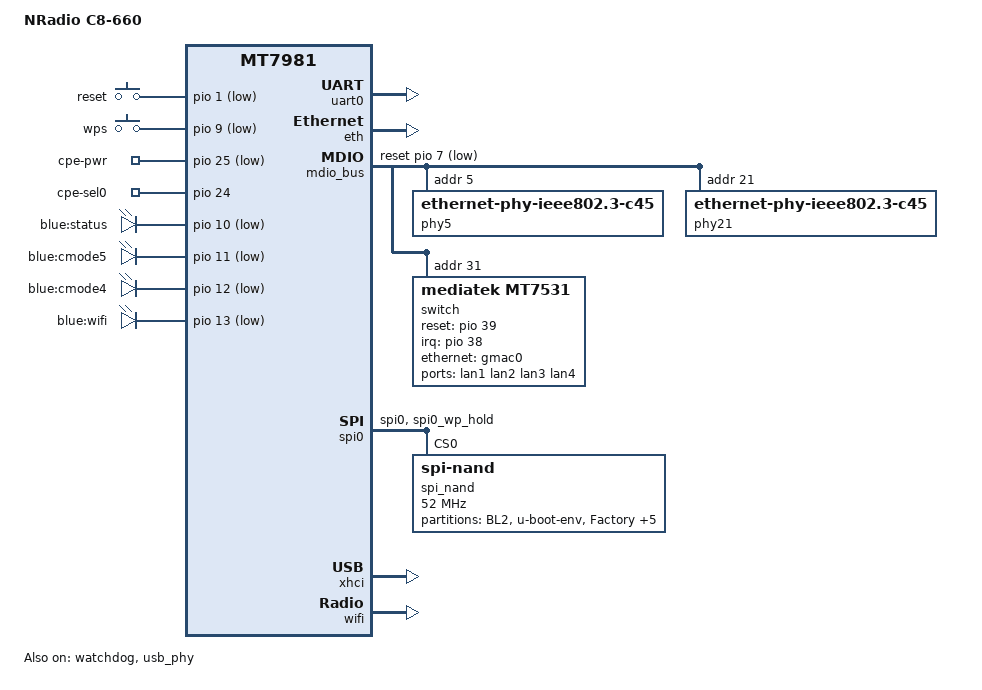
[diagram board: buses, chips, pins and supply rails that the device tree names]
/dts-v1/;

#include "mt7981.dtsi"

/ {
	model = "NRadio C8-660";
	compatible = "nradio,c8-660", "mediatek,mt7981";

	aliases {
		led-boot = &status_blue;
		led-failsafe = &status_blue;
		led-running = &status_blue;
		led-upgrade = &status_blue;
		serial0 = &uart0;
	};

	chosen {
		stdout-path = "serial0:115200n8";
	};

	gpio-keys {
		compatible = "gpio-keys";

		reset {
			label = "reset";
			linux,code = <KEY_RESTART>;
			gpios = <&pio 1 GPIO_ACTIVE_LOW>;
		};

		wps {
			label = "wps";
			linux,code = <KEY_WPS_BUTTON>;
			gpios = <&pio 9 GPIO_ACTIVE_LOW>;
		};
	};

	gpio-export {
		compatible = "gpio-export";

		cpepower {
			gpio-export,name = "cpe-pwr";
			gpio-export,output = <0>;
			gpios = <&pio 25 GPIO_ACTIVE_LOW>;
		};

		cpesel0 {
			gpio-export,name = "cpe-sel0";
			gpio-export,output = <1>;
			gpios = <&pio 24 GPIO_ACTIVE_HIGH>;
		};
	};

	gpio-leds {
		compatible = "gpio-leds";

		status_blue: status {
			label = "blue:status";
			gpios = <&pio 10 GPIO_ACTIVE_LOW>;
		};

		cmode5 {
			label = "blue:cmode5";
			gpios = <&pio 11 GPIO_ACTIVE_LOW>;
		};

		cmode4 {
			label = "blue:cmode4";
			gpios = <&pio 12 GPIO_ACTIVE_LOW>;
		};

		wifi {
			label = "blue:wifi";
			gpios = <&pio 13 GPIO_ACTIVE_LOW>;
		};
	};
};

&uart0 {
	status = "okay";
};

&watchdog {
	status = "okay";
};

&eth {
	status = "okay";

	gmac0: mac@0 {
		compatible = "mediatek,eth-mac";
		reg = <0>;
		phy-mode = "2500base-x";

		fixed-link {
			speed = <2500>;
			full-duplex;
			pause;
		};
	};

	gmac1: mac@1 {
		compatible = "mediatek,eth-mac";
		reg = <1>;
		phy-mode = "2500base-x";
		phy-handle = <&phy21>;
	};
};

&mdio_bus {
	reset-gpios = <&pio 7 GPIO_ACTIVE_LOW>, <&pio 8 GPIO_ACTIVE_LOW>;
	reset-delay-us = <600>;
	reset-post-delay-us = <20000>;

	phy5: ethernet-phy@5 {
		reg = <5>;
		compatible = "ethernet-phy-ieee802.3-c45";
		mxl,led-config = <0x3f0 0x330 0x0 0x0>;
	};

	phy21: ethernet-phy@21 {
		reg = <21>;
		compatible = "ethernet-phy-ieee802.3-c45";
	};

	switch: switch@1f {
		compatible = "mediatek,mt7531";
		reg = <31>;
		dsa,member = <0 0>;
		reset-gpios = <&pio 39 GPIO_ACTIVE_HIGH>;
		interrupt-controller;
		#interrupt-cells = <1>;
		interrupt-parent = <&pio>;
		interrupts = <38 IRQ_TYPE_LEVEL_HIGH>;
	};
};

&switch {
	ports {
		#address-cells = <1>;
		#size-cells = <0>;

		port@1 {
			reg = <1>;
			label = "lan1";
		};

		port@2 {
			reg = <2>;
			label = "lan2";
		};

		port@3 {
			reg = <3>;
			label = "lan3";
		};

		port@5 {
			reg = <5>;
			label = "lan4";
			phy-mode = "2500base-x";
			phy-handle = <&phy5>;
		};

		port@6 {
			reg = <6>;
			ethernet = <&gmac0>;
			phy-mode = "2500base-x";

			fixed-link {
				speed = <2500>;
				full-duplex;
				pause;
			};
		};
	};
};

&spi0 {
	pinctrl-names = "default";
	pinctrl-0 = <&spi0_flash_pins>;
	status = "okay";

	spi_nand: flash@0 {
		#address-cells = <1>;
		#size-cells = <1>;
		compatible = "spi-nand";
		reg = <0>;
		spi-max-frequency = <52000000>;

		spi-cal-enable;
		spi-cal-mode = "read-data";
		spi-cal-datalen = <7>;
		spi-cal-data = /bits/ 8 <0x53 0x50 0x49 0x4E 0x41 0x4E 0x44>;
		spi-cal-addrlen = <5>;
		spi-cal-addr = /bits/ 32 <0x0 0x0 0x0 0x0 0x0>;

		spi-tx-bus-width = <4>;
		spi-rx-bus-width = <4>;
		mediatek,nmbm;
		mediatek,bmt-max-ratio = <1>;
		mediatek,bmt-max-reserved-blocks = <64>;

		partitions {
			compatible = "fixed-partitions";
			#address-cells = <1>;
			#size-cells = <1>;

			partition@0 {
				label = "BL2";
				reg = <0x00000 0x0100000>;
				read-only;
			};

			partition@100000 {
				label = "u-boot-env";
				reg = <0x0100000 0x0080000>;
			};

			factory: partition@180000 {
				label = "Factory";
				reg = <0x180000 0x0180000>;
				read-only;

				nvmem-layout {
					compatible = "fixed-layout";
					#address-cells = <1>;
					#size-cells = <1>;

					eeprom_factory_0: eeprom@0 {
						reg = <0x0 0x1000>;
					};
				};
			};

			partition@300000 {
				label = "bdinfo";
				reg = <0x300000 0x0080000>;
			};

			partition@380000 {
				label = "FIP";
				reg = <0x380000 0x0200000>;
				read-only;
			};

			partition@580000 {
				label = "ubi_oem";
				reg = <0x580000 0x4000000>;
			};

			partition@4580000 {
				label = "app_data";
				reg = <0x4580000 0x1000000>;
			};

			partition@5580000 {
				label = "ubi";
				reg = <0x5580000 0x18a80000>;
				compatible = "linux,ubi";
			};
		};
	};
};

&pio {
	spi0_flash_pins: spi0-pins {
		mux {
			function = "spi";
			groups = "spi0", "spi0_wp_hold";
		};
	};
};

&usb_phy {
	status = "okay";
};

&xhci {
	status = "okay";
};

&wifi {
	nvmem-cells = <&eeprom_factory_0>;
	nvmem-cell-names = "eeprom";
	status = "okay";
};
